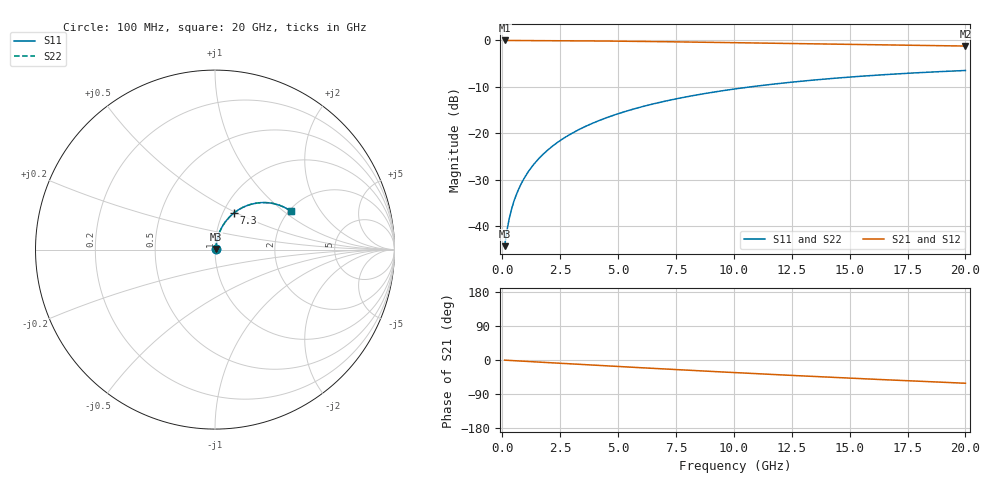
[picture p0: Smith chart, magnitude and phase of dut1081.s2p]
! Touchstone file exported from HFSS 2026.1.0
!  File:  C:/ffzhzh/LocalFiles/Ansys_Project_Files/temp_train_BSMRDL_1081_1783174436_22436.aedt
!  Generated:  10:15:18 PM Jul  4, 2026
!  Design:  BSMRDL
!  Project:  temp_train_BSMRDL_1081_1783174436_22436
! Variables:
!  h_bsmrdl = 3.28um
!  h_ox = 20um
!  h_rdl = 5um
!  h_sub = 80um
!  h_tmrdl = 5um
!  h_tsv = 80um
!  h_via = 3um
!  l_bsmrdl = 977.35um
!  l_sub = 1377.35um
!  l_tmrdl = 200um
!  m_sub = 200um
!  pitch = 47.52um
!  r_tsv = 6um
!  s_tmrdl = 10um
!  w_bsmrdl = 22.81um
!  w_sub = 500um
!  w_tmrdl = 12um
!  x_tsv_center1 = 206um
!  x_tsv_center2 = 1206.16um
!  x_tsv_center3 = 1418.16um
!  x_tsv_center4 = 2418.32um
!  x_tsv_center5 = 2630.32um
!  x_tsv_center6 = 3630.48um
# GHz S MA R 50.000000
! Terminal data exported
! Port[1] = BSM_RDL1_1_T1
! Port[2] = BSM_RDL1_1_T2
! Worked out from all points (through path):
!   200 points, 100 MHz to 20 GHz, reference 50 ohm
!   highest |S21| = -0.04 dB at 100 MHz (marker M1); lowest = -1.2 dB at 20 GHz (marker M2)
!   group delay of S21, straight-line fit = 8.52 ps
!   lowest |S11| = -44.3 dB at 100 MHz (marker M3), VSWR 1.01, Z = 50.5 + j0.375 ohm
!   |S11| at or under -10 dB: start of sweep to 10.76 GHz
!   |S22| runs from -44.3 to -6.5 dB; largest |S21 - S12| = 3.5e-15
!   S11 on the Smith chart (normalised r, x): 100 MHz: 1.01, +0.01; 7.3 GHz: 1.12, +0.48; 20 GHz: 2.04, +1.13
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0.1  0.006102 37.5  0.9952 -0.4  0.9952 -0.4  0.006102 37.5
! Gamma 0 0 0 0
! Port Impedance 50 0 50 0
0.2  0.008941 54.8  0.9949 -0.7  0.9949 -0.7  0.008941 54.8
0.3  0.01209 62.7  0.9946 -1.1  0.9946 -1.1  0.01209 62.7
0.4  0.01527 67.1  0.9943 -1.4  0.9943 -1.4  0.01527 67.2
0.5  0.01846 70.0  0.9941 -1.8  0.9941 -1.8  0.01846 70.0
0.6  0.02165 72.0  0.9939 -2.1  0.9939 -2.1  0.02165 72.0
0.8  0.02807 74.6  0.9935 -2.8  0.9935 -2.8  0.02807 74.6
1.1  0.03779 76.5  0.993 -3.8  0.993 -3.8  0.03779 76.5
1.3  0.04431 77.1  0.9926 -4.5  0.9926 -4.5  0.04431 77.1
1.6  0.05412 77.5  0.992 -5.6  0.992 -5.6  0.05412 77.5
2.1  0.07044 77.2  0.9907 -7.3  0.9907 -7.3  0.07044 77.2
2.7  0.08992 76.1  0.9888 -9.3  0.9888 -9.3  0.08992 76.1
3.5  0.1155 74.1  0.9857 -12.1  0.9857 -12.1  0.1155 74.1
4.2  0.1375 72.2  0.9824 -14.4  0.9824 -14.4  0.1375 72.2
5  0.1621 69.8  0.9781 -17.1  0.9781 -17.1  0.1621 69.8
6.8  0.2148 64.3  0.9666 -23.0  0.9666 -23.0  0.2148 64.3
7.3  0.2287 62.7  0.963 -24.6  0.963 -24.6  0.2287 62.8
8.6  0.2635 58.8  0.9533 -28.8  0.9533 -28.8  0.2635 58.8
10.1  0.3008 54.3  0.9415 -33.4  0.9415 -33.4  0.3008 54.3
13.4  0.3724 44.7  0.9145 -43.3  0.9145 -43.3  0.3724 44.7
16.7  0.4295 35.6  0.8889 -52.5  0.8889 -52.5  0.4295 35.7
20  0.473 27.0  0.8667 -61.4  0.8667 -61.4  0.473 27.1
